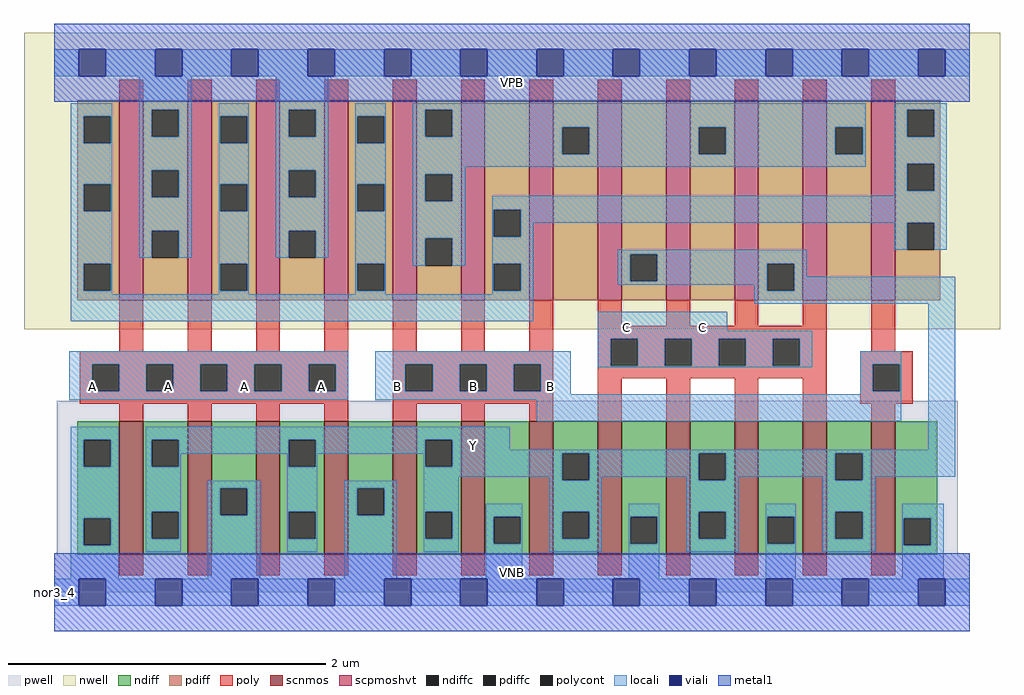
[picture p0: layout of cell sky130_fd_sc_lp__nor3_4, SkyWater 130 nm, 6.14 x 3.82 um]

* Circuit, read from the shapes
.subckt sky130_fd_sc_lp__nor3_4 A B C VGND VNB VPB VPWR Y
XM1 Y A VGND VNB sky130_fd_pr__nfet_01v8 w=0.84 l=0.15 m=4
XM2 Y B VGND VNB sky130_fd_pr__nfet_01v8 w=0.84 l=0.15 m=4
XM3 VGND C Y VNB sky130_fd_pr__nfet_01v8 w=0.84 l=0.15 m=4
XM4 VPWR A n1 VPB sky130_fd_pr__pfet_01v8_hvt w=1.26 l=0.15 m=4
XM5 n2 B n1 VPB sky130_fd_pr__pfet_01v8_hvt w=1.26 l=0.15 m=4
XM6 Y C n2 VPB sky130_fd_pr__pfet_01v8_hvt w=1.26 l=0.15 m=4
.ends

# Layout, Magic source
magic
tech sky130A
magscale 1 2
<< nwell >>
rect -38 331 1190 704
<< pwell >>
rect 3 49 1137 241
rect 0 0 1152 49
<< scnmos >>
rect 82 47 112 215
rect 168 47 198 215
rect 254 47 284 215
rect 340 47 370 215
rect 426 47 456 215
rect 512 47 542 215
rect 598 47 628 215
rect 684 47 714 215
rect 770 47 800 215
rect 856 47 886 215
rect 942 47 972 215
rect 1028 47 1058 215
<< scpmoshvt >>
rect 82 367 112 619
rect 168 367 198 619
rect 254 367 284 619
rect 340 367 370 619
rect 426 367 456 619
rect 512 367 542 619
rect 598 367 628 619
rect 684 367 714 619
rect 770 367 800 619
rect 856 367 886 619
rect 942 367 972 619
rect 1028 367 1058 619
<< ndiff >>
rect 29 192 82 215
rect 29 158 37 192
rect 71 158 82 192
rect 29 93 82 158
rect 29 59 37 93
rect 71 59 82 93
rect 29 47 82 59
rect 112 192 168 215
rect 112 158 123 192
rect 157 158 168 192
rect 112 101 168 158
rect 112 67 123 101
rect 157 67 168 101
rect 112 47 168 67
rect 198 131 254 215
rect 198 97 209 131
rect 243 97 254 131
rect 198 47 254 97
rect 284 192 340 215
rect 284 158 295 192
rect 329 158 340 192
rect 284 101 340 158
rect 284 67 295 101
rect 329 67 340 101
rect 284 47 340 67
rect 370 131 426 215
rect 370 97 381 131
rect 415 97 426 131
rect 370 47 426 97
rect 456 192 512 215
rect 456 158 467 192
rect 501 158 512 192
rect 456 101 512 158
rect 456 67 467 101
rect 501 67 512 101
rect 456 47 512 67
rect 542 95 598 215
rect 542 61 553 95
rect 587 61 598 95
rect 542 47 598 61
rect 628 175 684 215
rect 628 141 639 175
rect 673 141 684 175
rect 628 101 684 141
rect 628 67 639 101
rect 673 67 684 101
rect 628 47 684 67
rect 714 95 770 215
rect 714 61 725 95
rect 759 61 770 95
rect 714 47 770 61
rect 800 175 856 215
rect 800 141 811 175
rect 845 141 856 175
rect 800 101 856 141
rect 800 67 811 101
rect 845 67 856 101
rect 800 47 856 67
rect 886 95 942 215
rect 886 61 897 95
rect 931 61 942 95
rect 886 47 942 61
rect 972 175 1028 215
rect 972 141 983 175
rect 1017 141 1028 175
rect 972 101 1028 141
rect 972 67 983 101
rect 1017 67 1028 101
rect 972 47 1028 67
rect 1058 93 1111 215
rect 1058 59 1069 93
rect 1103 59 1111 93
rect 1058 47 1111 59
<< pdiff >>
rect 29 599 82 619
rect 29 565 37 599
rect 71 565 82 599
rect 29 513 82 565
rect 29 479 37 513
rect 71 479 82 513
rect 29 413 82 479
rect 29 379 37 413
rect 71 379 82 413
rect 29 367 82 379
rect 112 607 168 619
rect 112 573 123 607
rect 157 573 168 607
rect 112 531 168 573
rect 112 497 123 531
rect 157 497 168 531
rect 112 455 168 497
rect 112 421 123 455
rect 157 421 168 455
rect 112 367 168 421
rect 198 599 254 619
rect 198 565 209 599
rect 243 565 254 599
rect 198 513 254 565
rect 198 479 209 513
rect 243 479 254 513
rect 198 413 254 479
rect 198 379 209 413
rect 243 379 254 413
rect 198 367 254 379
rect 284 607 340 619
rect 284 573 295 607
rect 329 573 340 607
rect 284 531 340 573
rect 284 497 295 531
rect 329 497 340 531
rect 284 455 340 497
rect 284 421 295 455
rect 329 421 340 455
rect 284 367 340 421
rect 370 599 426 619
rect 370 565 381 599
rect 415 565 426 599
rect 370 513 426 565
rect 370 479 381 513
rect 415 479 426 513
rect 370 413 426 479
rect 370 379 381 413
rect 415 379 426 413
rect 370 367 426 379
rect 456 607 512 619
rect 456 573 467 607
rect 501 573 512 607
rect 456 526 512 573
rect 456 492 467 526
rect 501 492 512 526
rect 456 445 512 492
rect 456 411 467 445
rect 501 411 512 445
rect 456 367 512 411
rect 542 481 598 619
rect 542 447 553 481
rect 587 447 598 481
rect 542 413 598 447
rect 542 379 553 413
rect 587 379 598 413
rect 542 367 598 379
rect 628 585 684 619
rect 628 551 639 585
rect 673 551 684 585
rect 628 367 684 551
rect 714 425 770 619
rect 714 391 725 425
rect 759 391 770 425
rect 714 367 770 391
rect 800 585 856 619
rect 800 551 811 585
rect 845 551 856 585
rect 800 367 856 551
rect 886 413 942 619
rect 886 379 897 413
rect 931 379 942 413
rect 886 367 942 379
rect 972 585 1028 619
rect 972 551 983 585
rect 1017 551 1028 585
rect 972 367 1028 551
rect 1058 607 1115 619
rect 1058 573 1073 607
rect 1107 573 1115 607
rect 1058 539 1115 573
rect 1058 505 1073 539
rect 1107 505 1115 539
rect 1058 465 1115 505
rect 1058 431 1073 465
rect 1107 431 1115 465
rect 1058 367 1115 431
<< ndiffc >>
rect 37 158 71 192
rect 37 59 71 93
rect 123 158 157 192
rect 123 67 157 101
rect 209 97 243 131
rect 295 158 329 192
rect 295 67 329 101
rect 381 97 415 131
rect 467 158 501 192
rect 467 67 501 101
rect 553 61 587 95
rect 639 141 673 175
rect 639 67 673 101
rect 725 61 759 95
rect 811 141 845 175
rect 811 67 845 101
rect 897 61 931 95
rect 983 141 1017 175
rect 983 67 1017 101
rect 1069 59 1103 93
<< pdiffc >>
rect 37 565 71 599
rect 37 479 71 513
rect 37 379 71 413
rect 123 573 157 607
rect 123 497 157 531
rect 123 421 157 455
rect 209 565 243 599
rect 209 479 243 513
rect 209 379 243 413
rect 295 573 329 607
rect 295 497 329 531
rect 295 421 329 455
rect 381 565 415 599
rect 381 479 415 513
rect 381 379 415 413
rect 467 573 501 607
rect 467 492 501 526
rect 467 411 501 445
rect 553 447 587 481
rect 553 379 587 413
rect 639 551 673 585
rect 725 391 759 425
rect 811 551 845 585
rect 897 379 931 413
rect 983 551 1017 585
rect 1073 573 1107 607
rect 1073 505 1107 539
rect 1073 431 1107 465
<< poly >>
rect 82 619 112 645
rect 168 619 198 645
rect 254 619 284 645
rect 340 619 370 645
rect 426 619 456 645
rect 512 619 542 645
rect 598 619 628 645
rect 684 619 714 645
rect 770 619 800 645
rect 856 619 886 645
rect 942 619 972 645
rect 1028 619 1058 645
rect 82 303 112 367
rect 168 303 198 367
rect 254 303 284 367
rect 340 303 370 367
rect 32 287 370 303
rect 32 253 48 287
rect 82 253 116 287
rect 150 253 184 287
rect 218 253 252 287
rect 286 253 320 287
rect 354 253 370 287
rect 32 237 370 253
rect 82 215 112 237
rect 168 215 198 237
rect 254 215 284 237
rect 340 215 370 237
rect 426 303 456 367
rect 512 303 542 367
rect 598 303 628 367
rect 426 287 628 303
rect 426 253 442 287
rect 476 253 510 287
rect 544 253 578 287
rect 612 253 628 287
rect 426 237 628 253
rect 426 215 456 237
rect 512 215 542 237
rect 598 215 628 237
rect 684 335 714 367
rect 770 335 800 367
rect 856 335 886 367
rect 942 335 972 367
rect 684 319 972 335
rect 684 285 700 319
rect 734 285 768 319
rect 802 285 836 319
rect 870 285 904 319
rect 938 285 972 319
rect 1028 303 1058 367
rect 684 269 972 285
rect 684 215 714 269
rect 770 215 800 269
rect 856 215 886 269
rect 942 215 972 269
rect 1014 287 1080 303
rect 1014 253 1030 287
rect 1064 253 1080 287
rect 1014 237 1080 253
rect 1028 215 1058 237
rect 82 21 112 47
rect 168 21 198 47
rect 254 21 284 47
rect 340 21 370 47
rect 426 21 456 47
rect 512 21 542 47
rect 598 21 628 47
rect 684 21 714 47
rect 770 21 800 47
rect 856 21 886 47
rect 942 21 972 47
rect 1028 21 1058 47
<< polycont >>
rect 48 253 82 287
rect 116 253 150 287
rect 184 253 218 287
rect 252 253 286 287
rect 320 253 354 287
rect 442 253 476 287
rect 510 253 544 287
rect 578 253 612 287
rect 700 285 734 319
rect 768 285 802 319
rect 836 285 870 319
rect 904 285 938 319
rect 1030 253 1064 287
<< locali >>
rect 0 649 31 683
rect 65 649 127 683
rect 161 649 223 683
rect 257 649 319 683
rect 353 649 415 683
rect 449 649 511 683
rect 545 649 607 683
rect 641 649 703 683
rect 737 649 799 683
rect 833 649 895 683
rect 929 649 991 683
rect 1025 649 1087 683
rect 1121 649 1152 683
rect 21 599 73 615
rect 21 565 37 599
rect 71 565 73 599
rect 21 513 73 565
rect 21 479 37 513
rect 71 479 73 513
rect 21 413 73 479
rect 107 607 173 649
rect 107 573 123 607
rect 157 573 173 607
rect 107 531 173 573
rect 107 497 123 531
rect 157 497 173 531
rect 107 455 173 497
rect 107 421 123 455
rect 157 421 173 455
rect 207 599 245 615
rect 207 565 209 599
rect 243 565 245 599
rect 207 513 245 565
rect 207 479 209 513
rect 243 479 245 513
rect 21 379 37 413
rect 71 379 73 413
rect 21 375 73 379
rect 207 413 245 479
rect 279 607 345 649
rect 279 573 295 607
rect 329 573 345 607
rect 279 531 345 573
rect 279 497 295 531
rect 329 497 345 531
rect 279 455 345 497
rect 279 421 295 455
rect 329 421 345 455
rect 379 599 417 615
rect 379 565 381 599
rect 415 565 417 599
rect 379 513 417 565
rect 379 479 381 513
rect 415 479 417 513
rect 207 379 209 413
rect 243 379 245 413
rect 207 375 245 379
rect 379 413 417 479
rect 379 379 381 413
rect 415 379 417 413
rect 451 607 1021 615
rect 451 573 467 607
rect 501 585 1021 607
rect 501 573 639 585
rect 451 551 639 573
rect 673 551 811 585
rect 845 551 983 585
rect 1017 551 1021 585
rect 451 535 1021 551
rect 1057 607 1123 615
rect 1057 573 1073 607
rect 1107 573 1123 607
rect 1057 539 1123 573
rect 451 526 517 535
rect 451 492 467 526
rect 501 492 517 526
rect 1057 505 1073 539
rect 1107 505 1123 539
rect 1057 499 1123 505
rect 451 445 517 492
rect 451 411 467 445
rect 501 411 517 445
rect 551 481 1123 499
rect 551 447 553 481
rect 587 465 1123 481
rect 587 447 603 465
rect 551 413 603 447
rect 1057 431 1073 465
rect 1107 431 1123 465
rect 379 375 417 379
rect 551 379 553 413
rect 587 379 603 413
rect 709 425 947 431
rect 709 391 725 425
rect 759 413 947 425
rect 759 391 897 413
rect 709 387 897 391
rect 551 375 603 379
rect 21 341 603 375
rect 881 379 897 387
rect 931 397 947 413
rect 931 379 1134 397
rect 881 363 1134 379
rect 684 329 847 353
rect 684 319 954 329
rect 19 287 370 303
rect 19 253 48 287
rect 82 253 116 287
rect 150 253 184 287
rect 218 253 252 287
rect 286 253 320 287
rect 354 253 370 287
rect 19 242 370 253
rect 404 287 650 303
rect 404 253 442 287
rect 476 253 510 287
rect 544 253 578 287
rect 612 253 650 287
rect 684 285 700 319
rect 734 285 768 319
rect 802 285 836 319
rect 870 285 904 319
rect 938 285 954 319
rect 684 283 954 285
rect 1014 287 1066 303
rect 404 249 650 253
rect 1014 253 1030 287
rect 1064 253 1066 287
rect 1014 249 1066 253
rect 404 242 1066 249
rect 607 215 1066 242
rect 21 192 81 208
rect 21 158 37 192
rect 71 158 81 192
rect 21 93 81 158
rect 21 59 37 93
rect 71 59 81 93
rect 21 17 81 59
rect 115 192 573 208
rect 115 158 123 192
rect 157 174 295 192
rect 157 158 159 174
rect 115 101 159 158
rect 293 158 295 174
rect 329 174 467 192
rect 329 158 331 174
rect 115 67 123 101
rect 157 67 159 101
rect 115 51 159 67
rect 193 131 259 140
rect 193 97 209 131
rect 243 97 259 131
rect 193 17 259 97
rect 293 101 331 158
rect 465 158 467 174
rect 501 179 573 192
rect 1100 179 1134 363
rect 501 175 1134 179
rect 501 158 639 175
rect 465 145 639 158
rect 293 67 295 101
rect 329 67 331 101
rect 293 51 331 67
rect 365 131 431 140
rect 365 97 381 131
rect 415 97 431 131
rect 365 17 431 97
rect 465 101 509 145
rect 623 141 639 145
rect 673 145 811 175
rect 673 141 689 145
rect 465 67 467 101
rect 501 67 509 101
rect 465 51 509 67
rect 543 95 589 111
rect 543 61 553 95
rect 587 61 589 95
rect 543 17 589 61
rect 623 101 689 141
rect 795 141 811 145
rect 845 145 983 175
rect 845 141 861 145
rect 623 67 639 101
rect 673 67 689 101
rect 623 51 689 67
rect 723 95 761 111
rect 723 61 725 95
rect 759 61 761 95
rect 723 17 761 61
rect 795 101 861 141
rect 967 141 983 145
rect 1017 145 1134 175
rect 1017 141 1033 145
rect 795 67 811 101
rect 845 67 861 101
rect 795 51 861 67
rect 895 95 933 111
rect 895 61 897 95
rect 931 61 933 95
rect 895 17 933 61
rect 967 101 1033 141
rect 967 67 983 101
rect 1017 67 1033 101
rect 967 51 1033 67
rect 1067 93 1119 111
rect 1067 59 1069 93
rect 1103 59 1119 93
rect 1067 17 1119 59
rect 0 -17 31 17
rect 65 -17 127 17
rect 161 -17 223 17
rect 257 -17 319 17
rect 353 -17 415 17
rect 449 -17 511 17
rect 545 -17 607 17
rect 641 -17 703 17
rect 737 -17 799 17
rect 833 -17 895 17
rect 929 -17 991 17
rect 1025 -17 1087 17
rect 1121 -17 1152 17
<< viali >>
rect 31 649 65 683
rect 127 649 161 683
rect 223 649 257 683
rect 319 649 353 683
rect 415 649 449 683
rect 511 649 545 683
rect 607 649 641 683
rect 703 649 737 683
rect 799 649 833 683
rect 895 649 929 683
rect 991 649 1025 683
rect 1087 649 1121 683
rect 31 -17 65 17
rect 127 -17 161 17
rect 223 -17 257 17
rect 319 -17 353 17
rect 415 -17 449 17
rect 511 -17 545 17
rect 607 -17 641 17
rect 703 -17 737 17
rect 799 -17 833 17
rect 895 -17 929 17
rect 991 -17 1025 17
rect 1087 -17 1121 17
<< metal1 >>
rect 0 683 1152 715
rect 0 649 31 683
rect 65 649 127 683
rect 161 649 223 683
rect 257 649 319 683
rect 353 649 415 683
rect 449 649 511 683
rect 545 649 607 683
rect 641 649 703 683
rect 737 649 799 683
rect 833 649 895 683
rect 929 649 991 683
rect 1025 649 1087 683
rect 1121 649 1152 683
rect 0 617 1152 649
rect 0 17 1152 49
rect 0 -17 31 17
rect 65 -17 127 17
rect 161 -17 223 17
rect 257 -17 319 17
rect 353 -17 415 17
rect 449 -17 511 17
rect 545 -17 607 17
rect 641 -17 703 17
rect 737 -17 799 17
rect 833 -17 895 17
rect 929 -17 991 17
rect 1025 -17 1087 17
rect 1121 -17 1152 17
rect 0 -49 1152 -17
<< labels >>
flabel pwell s 0 0 1152 49 0 FreeSans 200 0 0 0 VNB
port 5 nsew ground bidirectional
flabel nwell s 0 617 1152 666 0 FreeSans 200 0 0 0 VPB
port 6 nsew power bidirectional
rlabel comment s 0 0 0 0 4 nor3_4
flabel metal1 s 0 617 1152 666 0 FreeSans 340 0 0 0 VPWR
port 7 nsew power bidirectional
flabel metal1 s 0 0 1152 49 0 FreeSans 340 0 0 0 VGND
port 4 nsew ground bidirectional
flabel locali s 31 242 65 276 0 FreeSans 340 0 0 0 A
port 1 nsew signal input
flabel locali s 127 242 161 276 0 FreeSans 340 0 0 0 A
port 1 nsew signal input
flabel locali s 223 242 257 276 0 FreeSans 340 0 0 0 A
port 1 nsew signal input
flabel locali s 319 242 353 276 0 FreeSans 340 0 0 0 A
port 1 nsew signal input
flabel locali s 511 168 545 202 0 FreeSans 340 0 0 0 Y
port 8 nsew signal output
flabel locali s 415 242 449 276 0 FreeSans 340 0 0 0 B
port 2 nsew signal input
flabel locali s 511 242 545 276 0 FreeSans 340 0 0 0 B
port 2 nsew signal input
flabel locali s 607 242 641 276 0 FreeSans 340 0 0 0 B
port 2 nsew signal input
flabel locali s 703 316 737 350 0 FreeSans 340 0 0 0 C
port 3 nsew signal input
flabel locali s 799 316 833 350 0 FreeSans 340 0 0 0 C
port 3 nsew signal input
<< properties >>
string LEFsite unit
string LEFclass CORE
string FIXED_BBOX 0 0 1152 666
string GDS_FILE $PDKPATH/libs.ref/sky130_fd_sc_lp/gds/sky130_fd_sc_lp.gds
string LEFsymmetry X Y R90
string GDS_END 2493482
string GDS_START 2483266
<< end >>
